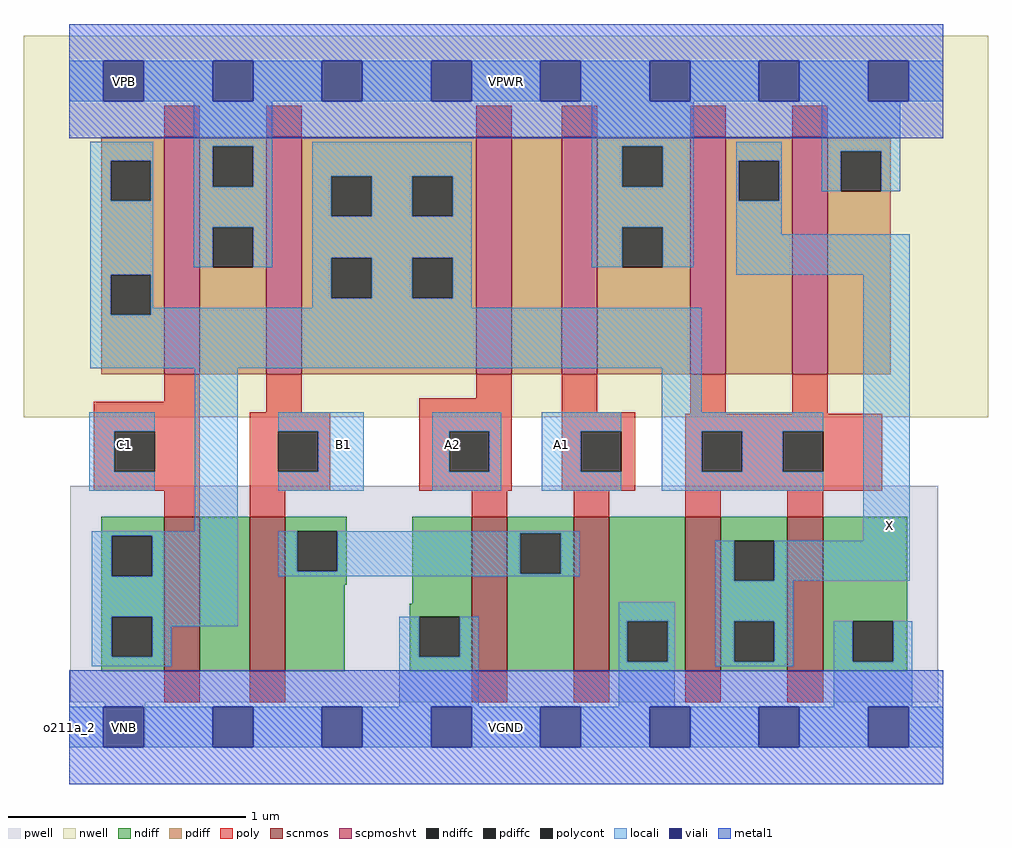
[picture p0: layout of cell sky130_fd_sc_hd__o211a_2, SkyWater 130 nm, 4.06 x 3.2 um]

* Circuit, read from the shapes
.subckt sky130_fd_sc_hd__o211a_2 A1 A2 B1 C1 VGND VNB VPB VPWR X
XM1 n1 C1 n2 VNB sky130_fd_pr__nfet_01v8 w=0.65 l=0.15
XM2 n3 B1 n1 VNB sky130_fd_pr__nfet_01v8 w=0.65 l=0.15
XM3 n3 A2 VGND VNB sky130_fd_pr__nfet_01v8 w=0.65 l=0.15
XM4 VGND A1 n3 VNB sky130_fd_pr__nfet_01v8 w=0.65 l=0.15
XM5 X n2 VGND VNB sky130_fd_pr__nfet_01v8 w=0.65 l=0.15 m=2
XM6 VPWR C1 n2 VPB sky130_fd_pr__pfet_01v8_hvt w=1 l=0.15
XM7 n2 B1 VPWR VPB sky130_fd_pr__pfet_01v8_hvt w=1 l=0.15
XM8 n4 A2 n2 VPB sky130_fd_pr__pfet_01v8_hvt w=1 l=0.15
XM9 VPWR A1 n4 VPB sky130_fd_pr__pfet_01v8_hvt w=1 l=0.15
XM10 X n2 VPWR VPB sky130_fd_pr__pfet_01v8_hvt w=1 l=0.15 m=2
.ends

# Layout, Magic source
magic
tech sky130B
magscale 1 2
<< nwell >>
rect -38 261 774 582
<< pwell >>
rect 1 21 732 203
rect 30 -17 64 21
<< scnmos >>
rect 80 47 110 177
rect 152 47 182 177
rect 339 47 369 177
rect 425 47 455 177
rect 519 47 549 177
rect 605 47 635 177
<< scpmoshvt >>
rect 80 297 110 497
rect 166 297 196 497
rect 343 297 373 497
rect 415 297 445 497
rect 523 297 553 497
rect 609 297 639 497
<< ndiff >>
rect 27 161 80 177
rect 27 127 36 161
rect 70 127 80 161
rect 27 93 80 127
rect 27 59 36 93
rect 70 59 80 93
rect 27 47 80 59
rect 110 47 152 177
rect 182 165 234 177
rect 182 131 192 165
rect 226 131 234 165
rect 182 120 234 131
rect 182 47 232 120
rect 289 104 339 177
rect 287 93 339 104
rect 287 59 295 93
rect 329 59 339 93
rect 287 47 339 59
rect 369 163 425 177
rect 369 129 380 163
rect 414 129 425 163
rect 369 47 425 129
rect 455 89 519 177
rect 455 55 470 89
rect 504 55 519 89
rect 455 47 519 55
rect 549 157 605 177
rect 549 123 560 157
rect 594 123 605 157
rect 549 89 605 123
rect 549 55 560 89
rect 594 55 605 89
rect 549 47 605 55
rect 635 89 706 177
rect 635 55 660 89
rect 694 55 706 89
rect 635 47 706 55
<< pdiff >>
rect 27 477 80 497
rect 27 443 35 477
rect 69 443 80 477
rect 27 381 80 443
rect 27 347 35 381
rect 69 347 80 381
rect 27 297 80 347
rect 110 489 166 497
rect 110 455 121 489
rect 155 455 166 489
rect 110 421 166 455
rect 110 387 121 421
rect 155 387 166 421
rect 110 297 166 387
rect 196 464 343 497
rect 196 430 221 464
rect 255 430 289 464
rect 323 430 343 464
rect 196 395 343 430
rect 196 361 221 395
rect 255 361 289 395
rect 323 361 343 395
rect 196 297 343 361
rect 373 297 415 497
rect 445 489 523 497
rect 445 455 466 489
rect 500 455 523 489
rect 445 421 523 455
rect 445 387 466 421
rect 500 387 523 421
rect 445 297 523 387
rect 553 477 609 497
rect 553 443 564 477
rect 598 443 609 477
rect 553 297 609 443
rect 639 485 692 497
rect 639 451 650 485
rect 684 451 692 485
rect 639 297 692 451
<< ndiffc >>
rect 36 127 70 161
rect 36 59 70 93
rect 192 131 226 165
rect 295 59 329 93
rect 380 129 414 163
rect 470 55 504 89
rect 560 123 594 157
rect 560 55 594 89
rect 660 55 694 89
<< pdiffc >>
rect 35 443 69 477
rect 35 347 69 381
rect 121 455 155 489
rect 121 387 155 421
rect 221 430 255 464
rect 289 430 323 464
rect 221 361 255 395
rect 289 361 323 395
rect 466 455 500 489
rect 466 387 500 421
rect 564 443 598 477
rect 650 451 684 485
<< poly >>
rect 80 497 110 523
rect 166 497 196 523
rect 343 497 373 523
rect 415 497 445 523
rect 523 497 553 523
rect 609 497 639 523
rect 80 274 110 297
rect 21 249 110 274
rect 166 265 196 297
rect 343 277 373 297
rect 21 215 38 249
rect 72 215 110 249
rect 21 199 110 215
rect 80 177 110 199
rect 152 249 220 265
rect 152 215 176 249
rect 210 215 220 249
rect 152 199 220 215
rect 295 249 373 277
rect 295 215 320 249
rect 354 215 373 249
rect 295 199 373 215
rect 415 265 445 297
rect 415 249 477 265
rect 523 264 553 297
rect 609 264 639 297
rect 415 215 431 249
rect 465 215 477 249
rect 415 199 477 215
rect 519 249 685 264
rect 519 215 533 249
rect 567 215 601 249
rect 635 215 685 249
rect 519 199 685 215
rect 152 177 182 199
rect 339 177 369 199
rect 425 177 455 199
rect 519 177 549 199
rect 605 177 635 199
rect 80 21 110 47
rect 152 21 182 47
rect 339 21 369 47
rect 425 21 455 47
rect 519 21 549 47
rect 605 21 635 47
<< polycont >>
rect 38 215 72 249
rect 176 215 210 249
rect 320 215 354 249
rect 431 215 465 249
rect 533 215 567 249
rect 601 215 635 249
<< locali >>
rect 0 527 29 561
rect 63 527 121 561
rect 155 527 213 561
rect 247 527 305 561
rect 339 527 397 561
rect 431 527 489 561
rect 523 527 581 561
rect 615 527 673 561
rect 707 527 736 561
rect 18 477 71 493
rect 18 443 35 477
rect 69 443 71 477
rect 18 381 71 443
rect 105 489 171 527
rect 105 455 121 489
rect 155 455 171 489
rect 105 421 171 455
rect 105 387 121 421
rect 155 387 171 421
rect 205 464 339 493
rect 205 430 221 464
rect 255 430 289 464
rect 323 430 339 464
rect 205 395 339 430
rect 18 347 35 381
rect 69 353 71 381
rect 205 361 221 395
rect 255 361 289 395
rect 323 361 339 395
rect 440 489 526 527
rect 440 455 466 489
rect 500 455 526 489
rect 440 421 526 455
rect 440 387 466 421
rect 500 387 526 421
rect 562 477 600 493
rect 562 443 564 477
rect 598 443 600 477
rect 634 485 700 527
rect 634 451 650 485
rect 684 451 700 485
rect 562 415 600 443
rect 562 381 708 415
rect 205 353 339 361
rect 69 347 533 353
rect 18 302 533 347
rect 17 249 72 265
rect 17 215 38 249
rect 17 199 72 215
rect 106 165 142 302
rect 499 265 533 302
rect 176 249 248 265
rect 210 215 248 249
rect 176 199 248 215
rect 306 249 364 265
rect 306 215 320 249
rect 354 215 364 249
rect 306 199 364 215
rect 398 249 465 265
rect 398 215 431 249
rect 398 199 465 215
rect 499 249 635 265
rect 499 215 533 249
rect 567 215 601 249
rect 499 199 635 215
rect 19 161 142 165
rect 19 127 36 161
rect 70 127 142 161
rect 176 131 192 165
rect 226 163 430 165
rect 226 131 380 163
rect 176 129 380 131
rect 414 129 430 163
rect 669 157 708 381
rect 176 127 430 129
rect 19 93 142 127
rect 544 123 560 157
rect 594 123 708 157
rect 19 59 36 93
rect 70 85 142 93
rect 70 59 86 85
rect 19 51 86 59
rect 278 59 295 93
rect 329 59 345 93
rect 278 17 345 59
rect 463 89 510 105
rect 463 55 470 89
rect 504 55 510 89
rect 463 17 510 55
rect 544 89 610 123
rect 544 55 560 89
rect 594 55 610 89
rect 544 51 610 55
rect 644 55 660 89
rect 694 55 710 89
rect 644 17 710 55
rect 0 -17 29 17
rect 63 -17 121 17
rect 155 -17 213 17
rect 247 -17 305 17
rect 339 -17 397 17
rect 431 -17 489 17
rect 523 -17 581 17
rect 615 -17 673 17
rect 707 -17 736 17
<< viali >>
rect 29 527 63 561
rect 121 527 155 561
rect 213 527 247 561
rect 305 527 339 561
rect 397 527 431 561
rect 489 527 523 561
rect 581 527 615 561
rect 673 527 707 561
rect 29 -17 63 17
rect 121 -17 155 17
rect 213 -17 247 17
rect 305 -17 339 17
rect 397 -17 431 17
rect 489 -17 523 17
rect 581 -17 615 17
rect 673 -17 707 17
<< metal1 >>
rect 0 561 736 592
rect 0 527 29 561
rect 63 527 121 561
rect 155 527 213 561
rect 247 527 305 561
rect 339 527 397 561
rect 431 527 489 561
rect 523 527 581 561
rect 615 527 673 561
rect 707 527 736 561
rect 0 496 736 527
rect 0 17 736 48
rect 0 -17 29 17
rect 63 -17 121 17
rect 155 -17 213 17
rect 247 -17 305 17
rect 339 -17 397 17
rect 431 -17 489 17
rect 523 -17 581 17
rect 615 -17 673 17
rect 707 -17 736 17
rect 0 -48 736 -17
<< labels >>
flabel locali s 30 221 64 255 0 FreeSans 340 0 0 0 C1
port 4 nsew signal input
flabel locali s 214 221 248 255 0 FreeSans 340 0 0 0 B1
port 3 nsew signal input
flabel locali s 306 221 340 255 0 FreeSans 340 0 0 0 A2
port 2 nsew signal input
flabel locali s 398 221 432 255 0 FreeSans 340 0 0 0 A1
port 1 nsew signal input
flabel locali s 674 153 708 187 0 FreeSans 340 0 0 0 X
port 9 nsew signal output
flabel pwell s 30 -17 64 17 0 FreeSans 200 0 0 0 VNB
port 6 nsew ground bidirectional
flabel nwell s 30 527 64 561 0 FreeSans 200 0 0 0 VPB
port 7 nsew power bidirectional
flabel metal1 s 30 527 64 561 0 FreeSans 200 0 0 0 VPWR
port 8 nsew power bidirectional abutment
flabel metal1 s 30 -17 64 17 0 FreeSans 200 0 0 0 VGND
port 5 nsew ground bidirectional abutment
rlabel comment s 0 0 0 0 4 o211a_2
rlabel metal1 s 0 -48 736 48 1 VGND
port 5 nsew ground bidirectional abutment
rlabel metal1 s 0 496 736 592 1 VPWR
port 8 nsew power bidirectional abutment
<< properties >>
string FIXED_BBOX 0 0 736 544
string GDS_END 761844
string GDS_FILE $PDKPATH/libs.ref/sky130_fd_sc_hd/gds/sky130_fd_sc_hd.gds
string GDS_START 755520
string LEFclass CORE
string LEFsite unithd
string LEFsymmetry X Y R90
string path 0.000 0.000 3.680 0.000 
<< end >>
